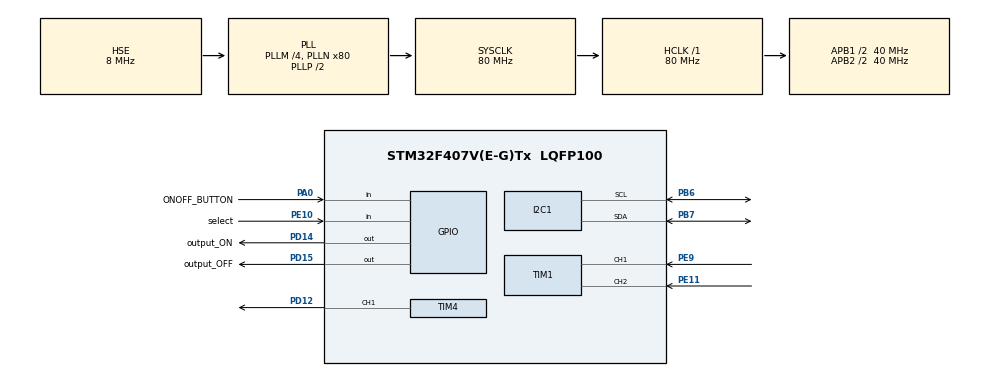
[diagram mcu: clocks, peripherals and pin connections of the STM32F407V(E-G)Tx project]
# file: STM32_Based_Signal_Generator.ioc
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IWDG.Prescaler=IWDG_PRESCALER_256
IWDG.Reload=1249
Mcu.Family=STM32F4
Mcu.Name=STM32F407V(E-G)Tx
Mcu.Package=LQFP100
NVIC.PriorityGroup=NVIC_PRIORITYGROUP_0
PA0-WKUP.GPIO_Label=ONOFF_BUTTON
PA0-WKUP.GPIO_PuPd=GPIO_PULLDOWN
PA0-WKUP.Signal=GPIO_Input
PA13.Mode=Serial_Wire
PA13.Signal=SYS_JTMS-SWDIO
PA14.Mode=Serial_Wire
PA14.Signal=SYS_JTCK-SWCLK
PB6.Mode=I2C
PB6.Signal=I2C1_SCL
PB7.Mode=I2C
PB7.Signal=I2C1_SDA
PD12.Signal=S_TIM4_CH1
PD14.GPIO_Label=output_ON
PD14.GPIO_Speed=GPIO_SPEED_FREQ_MEDIUM
PD14.Signal=GPIO_Output
PD15.GPIO_Label=output_OFF
PD15.GPIO_Speed=GPIO_SPEED_FREQ_MEDIUM
PD15.Signal=GPIO_Output
PE10.GPIO_Label=select
PE10.GPIO_PuPd=GPIO_PULLUP
PE10.Signal=GPIO_Input
PE11.Signal=S_TIM1_CH2
PE9.Signal=S_TIM1_CH1
PH0-OSC_IN.Mode=HSE-External-Oscillator
PH0-OSC_IN.Signal=RCC_OSC_IN
PH1-OSC_OUT.Mode=HSE-External-Oscillator
PH1-OSC_OUT.Signal=RCC_OSC_OUT
ProjectManager.HeapSize=0x200
ProjectManager.StackSize=0x400
ProjectManager.TargetToolchain=STM32CubeIDE
RCC.48MHZClocksFreq_Value=22857142.85714286
RCC.AHBFreq_Value=80000000
RCC.APB1CLKDivider=RCC_HCLK_DIV2
RCC.APB1Freq_Value=40000000
RCC.APB1TimFreq_Value=80000000
RCC.APB2CLKDivider=RCC_HCLK_DIV2
RCC.APB2Freq_Value=40000000
RCC.APB2TimFreq_Value=80000000
RCC.CortexFreq_Value=80000000
RCC.HCLKFreq_Value=80000000
RCC.HSE_VALUE=8000000
RCC.HSI_VALUE=16000000
RCC.LSE_VALUE=32768
RCC.PLLM=4
RCC.PLLN=80
RCC.PLLQ=7
RCC.PLLSourceVirtual=RCC_PLLSOURCE_HSE
RCC.SYSCLKFreq_VALUE=80000000
RCC.SYSCLKSource=RCC_SYSCLKSOURCE_PLLCLK
RCC.VCOOutputFreq_Value=160000000
SH.S_TIM1_CH1.0=TIM1_CH1,Encoder_Interface
SH.S_TIM1_CH2.0=TIM1_CH2,Encoder_Interface
SH.S_TIM4_CH1.0=TIM4_CH1,PWM Generation1 CH1
TIM1.AutoReloadPreload=TIM_AUTORELOAD_PRELOAD_ENABLE
TIM1.EncoderMode=TIM_ENCODERMODE_TI12
TIM1.IC1Filter=10
TIM1.IC2Filter=10
TIM4.Channel-PWM\ Generation1\ CH1=TIM_CHANNEL_1
TIM4.Period=1000-1
TIM4.Prescaler=80-1
TIM4.Pulse-PWM\ Generation1\ CH1=500
VP_IWDG_VS_IWDG.Mode=IWDG_Activate
VP_TIM4_VS_ClockSourceINT.Mode=Internal
board=STM32F407G-DISC1

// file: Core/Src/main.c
/* USER CODE BEGIN Header */
/**
  ******************************************************************************
  * @file           : main.c
  * @brief          : Main program body
  ******************************************************************************
  * @attention
  *
  * Copyright (c) 2024 STMicroelectronics.
  * All rights reserved.
  *
  * This software is licensed under terms that can be found in the LICENSE file
  * in the root directory of this software component.
  * If no LICENSE file comes with this software, it is provided AS-IS.
  *
  ******************************************************************************
  */
/* USER CODE END Header */
#include "main.h"

/* USER CODE BEGIN Includes */
#include "pwm.h"
#include "menu.h"

/* USER CODE END Includes */

I2C_HandleTypeDef hi2c1;

IWDG_HandleTypeDef hiwdg;

TIM_HandleTypeDef htim1;
TIM_HandleTypeDef htim4;

/* USER CODE BEGIN PV */
//float frequency = 1000;
//float dutyCycle = 50;

/* USER CODE END PV */

void SystemClock_Config(void);
static void MX_GPIO_Init(void);
static void MX_TIM4_Init(void);
static void MX_I2C1_Init(void);
static void MX_TIM1_Init(void);
static void MX_IWDG_Init(void);

/* USER CODE BEGIN 0 */
void programInitialization(){
	pwmChannelStart(&htim4, TIM_CHANNEL_1);
	setPWMFreqDuty(1000, 50);
	ssd1306_Init();
	HAL_IWDG_Init(&hiwdg);
	HAL_TIM_Encoder_Start(&htim1, TIM_CHANNEL_ALL);
	HAL_GPIO_WritePin(output_OFF_GPIO_Port, output_OFF_Pin, 1);
	HAL_GPIO_WritePin(output_ON_GPIO_Port, output_ON_Pin, 0);
	pwmChannelStop(&htim4, TIM_CHANNEL_1);
}

void programStartMessage(){

	ssd1306_Fill(Black);
	ssd1306_SetCursor(20, 10);
	ssd1306_WriteString("STM32 Based", Font_7x10, White);
	ssd1306_SetCursor(10, 30);
	ssd1306_WriteString("Signal Generator", Font_7x10, White);
	ssd1306_UpdateScreen();
	HAL_Delay(3000);

}

/* USER CODE END 0 */

int main(void)
{

  /* MCU Configuration--------------------------------------------------------*/

  /* Reset of all peripherals, Initializes the Flash interface and the Systick. */
  HAL_Init();

  /* Configure the system clock */
  SystemClock_Config();

  /* Initialize all configured peripherals */
  MX_GPIO_Init();
  MX_TIM4_Init();
  MX_I2C1_Init();
  MX_TIM1_Init();
  MX_IWDG_Init();
  /* USER CODE BEGIN 2 */

  programInitialization();
  programStartMessage();

  /* USER CODE END 2 */

  /* Infinite loop */
  while (1)
  {

    /* USER CODE BEGIN 3 */

	  handleMenuNavigation();
	  HAL_IWDG_Refresh(&hiwdg);
  }
  /* USER CODE END 3 */
}

void SystemClock_Config(void)
{
  RCC_OscInitTypeDef RCC_OscInitStruct = {0};
  RCC_ClkInitTypeDef RCC_ClkInitStruct = {0};

  /** Configure the main internal regulator output voltage
  */
  __HAL_RCC_PWR_CLK_ENABLE();
  __HAL_PWR_VOLTAGESCALING_CONFIG(PWR_REGULATOR_VOLTAGE_SCALE1);

  /** Initializes the RCC Oscillators according to the specified parameters
  * in the RCC_OscInitTypeDef structure.
  */
  RCC_OscInitStruct.OscillatorType = RCC_OSCILLATORTYPE_LSI|RCC_OSCILLATORTYPE_HSE;
  RCC_OscInitStruct.HSEState = RCC_HSE_ON;
  RCC_OscInitStruct.LSIState = RCC_LSI_ON;
  RCC_OscInitStruct.PLL.PLLState = RCC_PLL_ON;
  RCC_OscInitStruct.PLL.PLLSource = RCC_PLLSOURCE_HSE;
  RCC_OscInitStruct.PLL.PLLM = 4;
  RCC_OscInitStruct.PLL.PLLN = 80;
  RCC_OscInitStruct.PLL.PLLP = RCC_PLLP_DIV2;
  RCC_OscInitStruct.PLL.PLLQ = 7;
  if (HAL_RCC_OscConfig(&RCC_OscInitStruct) != HAL_OK)
  {
    Error_Handler();
  }

  /** Initializes the CPU, AHB and APB buses clocks
  */
  RCC_ClkInitStruct.ClockType = RCC_CLOCKTYPE_HCLK|RCC_CLOCKTYPE_SYSCLK
                              |RCC_CLOCKTYPE_PCLK1|RCC_CLOCKTYPE_PCLK2;
  RCC_ClkInitStruct.SYSCLKSource = RCC_SYSCLKSOURCE_PLLCLK;
  RCC_ClkInitStruct.AHBCLKDivider = RCC_SYSCLK_DIV1;
  RCC_ClkInitStruct.APB1CLKDivider = RCC_HCLK_DIV2;
  RCC_ClkInitStruct.APB2CLKDivider = RCC_HCLK_DIV2;

  if (HAL_RCC_ClockConfig(&RCC_ClkInitStruct, FLASH_LATENCY_2) != HAL_OK)
  {
    Error_Handler();
  }
}

static void MX_I2C1_Init(void)
{

  hi2c1.Instance = I2C1;
  hi2c1.Init.ClockSpeed = 100000;
  hi2c1.Init.DutyCycle = I2C_DUTYCYCLE_2;
  hi2c1.Init.OwnAddress1 = 0;
  hi2c1.Init.AddressingMode = I2C_ADDRESSINGMODE_7BIT;
  hi2c1.Init.DualAddressMode = I2C_DUALADDRESS_DISABLE;
  hi2c1.Init.OwnAddress2 = 0;
  hi2c1.Init.GeneralCallMode = I2C_GENERALCALL_DISABLE;
  hi2c1.Init.NoStretchMode = I2C_NOSTRETCH_DISABLE;
  if (HAL_I2C_Init(&hi2c1) != HAL_OK)
  {
    Error_Handler();
  }

}

static void MX_IWDG_Init(void)
{

  hiwdg.Instance = IWDG;
  hiwdg.Init.Prescaler = IWDG_PRESCALER_256;
  hiwdg.Init.Reload = 1249;
  if (HAL_IWDG_Init(&hiwdg) != HAL_OK)
  {
    Error_Handler();
  }

}

static void MX_TIM1_Init(void)
{

  TIM_Encoder_InitTypeDef sConfig = {0};
  TIM_MasterConfigTypeDef sMasterConfig = {0};

  htim1.Instance = TIM1;
  htim1.Init.Prescaler = 0;
  htim1.Init.CounterMode = TIM_COUNTERMODE_UP;
  htim1.Init.Period = 65535;
  htim1.Init.ClockDivision = TIM_CLOCKDIVISION_DIV1;
  htim1.Init.RepetitionCounter = 0;
  htim1.Init.AutoReloadPreload = TIM_AUTORELOAD_PRELOAD_ENABLE;
  sConfig.EncoderMode = TIM_ENCODERMODE_TI12;
  sConfig.IC1Polarity = TIM_ICPOLARITY_RISING;
  sConfig.IC1Selection = TIM_ICSELECTION_DIRECTTI;
  sConfig.IC1Prescaler = TIM_ICPSC_DIV1;
  sConfig.IC1Filter = 10;
  sConfig.IC2Polarity = TIM_ICPOLARITY_RISING;
  sConfig.IC2Selection = TIM_ICSELECTION_DIRECTTI;
  sConfig.IC2Prescaler = TIM_ICPSC_DIV1;
  sConfig.IC2Filter = 10;
  if (HAL_TIM_Encoder_Init(&htim1, &sConfig) != HAL_OK)
  {
    Error_Handler();
  }
  sMasterConfig.MasterOutputTrigger = TIM_TRGO_RESET;
  sMasterConfig.MasterSlaveMode = TIM_MASTERSLAVEMODE_DISABLE;
  if (HAL_TIMEx_MasterConfigSynchronization(&htim1, &sMasterConfig) != HAL_OK)
  {
    Error_Handler();
  }

}

static void MX_TIM4_Init(void)
{

  TIM_ClockConfigTypeDef sClockSourceConfig = {0};
  TIM_MasterConfigTypeDef sMasterConfig = {0};
  TIM_OC_InitTypeDef sConfigOC = {0};

  htim4.Instance = TIM4;
  htim4.Init.Prescaler = 80-1;
  htim4.Init.CounterMode = TIM_COUNTERMODE_UP;
  htim4.Init.Period = 1000-1;
  htim4.Init.ClockDivision = TIM_CLOCKDIVISION_DIV1;
  htim4.Init.AutoReloadPreload = TIM_AUTORELOAD_PRELOAD_DISABLE;
  if (HAL_TIM_Base_Init(&htim4) != HAL_OK)
  {
    Error_Handler();
  }
  sClockSourceConfig.ClockSource = TIM_CLOCKSOURCE_INTERNAL;
  if (HAL_TIM_ConfigClockSource(&htim4, &sClockSourceConfig) != HAL_OK)
  {
    Error_Handler();
  }
  if (HAL_TIM_PWM_Init(&htim4) != HAL_OK)
  {
    Error_Handler();
  }
  sMasterConfig.MasterOutputTrigger = TIM_TRGO_RESET;
  sMasterConfig.MasterSlaveMode = TIM_MASTERSLAVEMODE_DISABLE;
  if (HAL_TIMEx_MasterConfigSynchronization(&htim4, &sMasterConfig) != HAL_OK)
  {
    Error_Handler();
  }
  sConfigOC.OCMode = TIM_OCMODE_PWM1;
  sConfigOC.Pulse = 500;
  sConfigOC.OCPolarity = TIM_OCPOLARITY_HIGH;
  sConfigOC.OCFastMode = TIM_OCFAST_DISABLE;
  if (HAL_TIM_PWM_ConfigChannel(&htim4, &sConfigOC, TIM_CHANNEL_1) != HAL_OK)
  {
    Error_Handler();
  }
  HAL_TIM_MspPostInit(&htim4);

}

static void MX_GPIO_Init(void)
{
  GPIO_InitTypeDef GPIO_InitStruct = {0};

  /* GPIO Ports Clock Enable */
  __HAL_RCC_GPIOH_CLK_ENABLE();
  __HAL_RCC_GPIOA_CLK_ENABLE();
  __HAL_RCC_GPIOE_CLK_ENABLE();
  __HAL_RCC_GPIOD_CLK_ENABLE();
  __HAL_RCC_GPIOB_CLK_ENABLE();

  /*Configure GPIO pin Output Level */
  HAL_GPIO_WritePin(GPIOD, output_ON_Pin|output_OFF_Pin, GPIO_PIN_RESET);

  /*Configure GPIO pin : ONOFF_BUTTON_Pin */
  GPIO_InitStruct.Pin = ONOFF_BUTTON_Pin;
  GPIO_InitStruct.Mode = GPIO_MODE_INPUT;
  GPIO_InitStruct.Pull = GPIO_PULLDOWN;
  HAL_GPIO_Init(ONOFF_BUTTON_GPIO_Port, &GPIO_InitStruct);

  /*Configure GPIO pin : select_Pin */
  GPIO_InitStruct.Pin = select_Pin;
  GPIO_InitStruct.Mode = GPIO_MODE_INPUT;
  GPIO_InitStruct.Pull = GPIO_PULLUP;
  HAL_GPIO_Init(select_GPIO_Port, &GPIO_InitStruct);

  /*Configure GPIO pins : output_ON_Pin output_OFF_Pin */
  GPIO_InitStruct.Pin = output_ON_Pin|output_OFF_Pin;
  GPIO_InitStruct.Mode = GPIO_MODE_OUTPUT_PP;
  GPIO_InitStruct.Pull = GPIO_NOPULL;
  GPIO_InitStruct.Speed = GPIO_SPEED_FREQ_MEDIUM;
  HAL_GPIO_Init(GPIOD, &GPIO_InitStruct);

}

void Error_Handler(void)
{
  __disable_irq();
  while (1)
  {
  }
}
